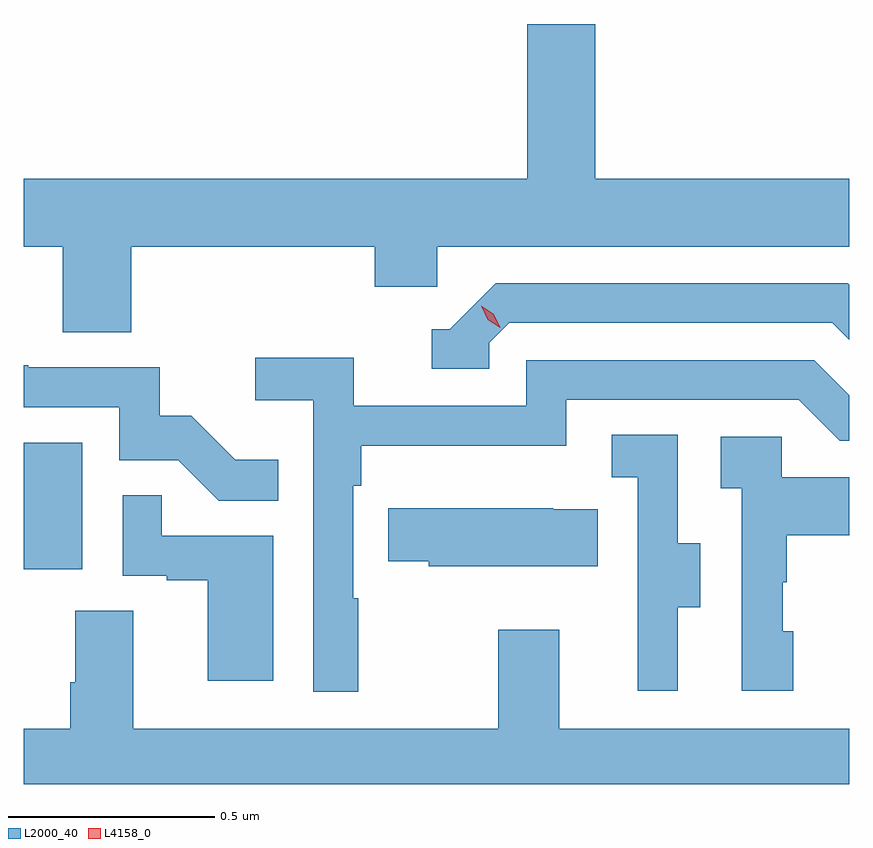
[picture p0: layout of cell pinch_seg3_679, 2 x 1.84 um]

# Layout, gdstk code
import gdstk
lib = gdstk.Library(unit=1e-6, precision=1e-09)
def R(c, l, rs):  # rectangles x0, y0, x1, y1
    for r in rs: c.add(gdstk.rectangle(r[:2], r[2:], *l))
def P(c, l, *ps):  # polygons
    for p in ps: c.add(gdstk.Polygon(p, *l))
L2000_40 = (2000, 40)
L4158_0 = (4158, 0)

pinch_seg3_679 = lib.new_cell('pinch_seg3_679')
R(pinch_seg3_679, L2000_40, [(1074.876,676.158,1075.018,676.465)])
P(pinch_seg3_679, L2000_40, [(1076.876,677.104),(1076.26,677.104),(1076.26,677.479),(1076.096,677.479),(1076.096,677.104),(1074.876,677.104),(1074.876,676.94),(1074.971,676.94),(1074.971,676.732),(1075.136,676.732),(1075.136,676.94),(1075.727,676.94),(1075.727,676.842),(1075.878,676.842),(1075.878,676.94),(1076.876,676.94)],
  [(1076.004,676.707),(1076.052,676.755),(1076.835,676.755),(1076.876,676.714),(1076.876,676.847),(1076.872,676.851),(1076.019,676.851),(1075.908,676.74),(1075.865,676.74),(1075.865,676.644),(1076.004,676.644)],
  [(1075.687,676.088),(1075.674,676.088),(1075.674,676.361),(1075.694,676.361),(1075.694,676.457),(1076.19,676.457),(1076.19,676.569),(1076.754,676.569),(1076.853,676.47),(1076.876,676.47),(1076.876,676.58),(1076.791,676.665),(1076.094,676.665),(1076.094,676.554),(1075.676,676.554),(1075.676,676.67),(1075.437,676.67),(1075.437,676.568),(1075.578,676.568),(1075.578,675.861),(1075.687,675.861)],
  [(1075.493,676.423),(1075.389,676.423),(1075.282,676.53),(1075.206,676.53),(1075.206,676.647),(1074.887,676.647),(1074.887,676.652),(1074.876,676.652),(1074.876,676.551),(1075.107,676.551),(1075.107,676.422),(1075.251,676.422),(1075.349,676.324),(1075.493,676.324)],
  [(1076.461,676.066),(1076.515,676.066),(1076.515,676.221),(1076.46,676.221),(1076.46,676.484),(1076.301,676.484),(1076.301,676.381),(1076.364,676.381),(1076.364,676.077),(1076.363,676.077),(1076.363,675.864),(1076.461,675.864)],
  [(1076.74,676.008),(1076.715,676.008),(1076.715,676.127),(1076.725,676.127),(1076.725,676.241),(1076.876,676.241),(1076.876,676.381),(1076.712,676.381),(1076.712,676.479),(1076.565,676.479),(1076.565,676.355),(1076.616,676.355),(1076.616,675.864),(1076.74,675.864)],
  [(1075.48,676.239),(1075.211,676.239),(1075.211,676.337),(1075.116,676.337),(1075.116,676.143),(1075.223,676.143),(1075.223,676.131),(1075.322,676.131),(1075.322,675.888),(1075.48,675.888)],
  [(1076.267,676.303),(1076.159,676.303),(1076.159,676.306),(1075.759,676.306),(1075.759,676.177),(1075.857,676.177),(1075.857,676.166),(1076.267,676.166)],
  [(1076.876,675.772),(1076.173,675.772),(1076.173,676.012),(1076.026,676.012),(1076.026,675.772),(1075.141,675.772),(1075.141,676.058),(1075.001,676.058),(1075.001,675.884),(1074.989,675.884),(1074.989,675.772),(1074.876,675.772),(1074.876,675.638),(1076.876,675.638)])
P(pinch_seg3_679, L4158_0, [(1076.03,676.743),(1076,676.763),(1075.984,676.796),(1075.984,676.796),(1075.985,676.796),(1076.015,676.776),(1076.031,676.744),(1076.031,676.743)])

lib.write_gds('pinch_seg3_679.gds')
